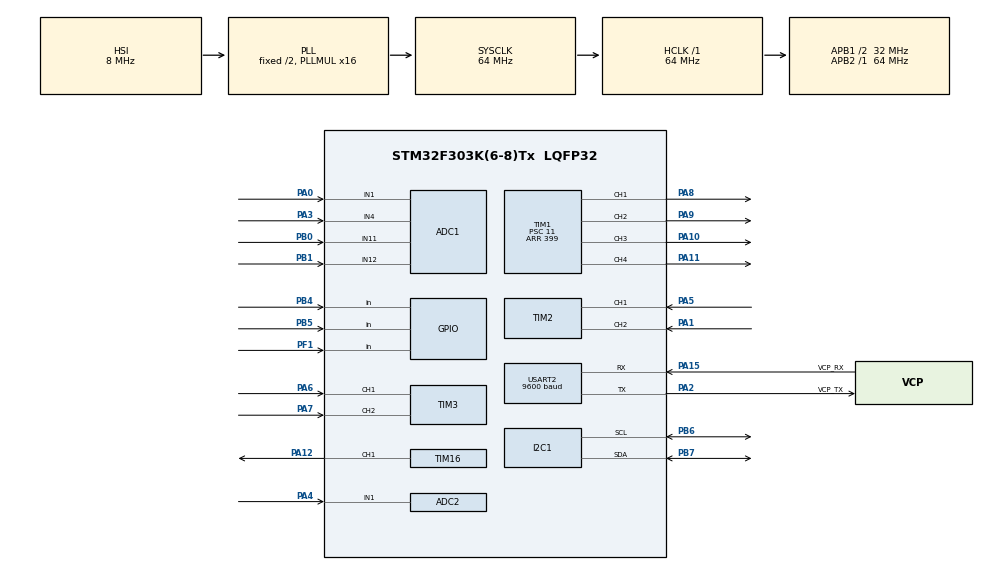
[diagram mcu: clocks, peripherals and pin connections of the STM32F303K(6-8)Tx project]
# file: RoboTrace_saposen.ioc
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ADC1.Channel-0\#ChannelRegularConversion=ADC_CHANNEL_1
ADC1.Channel-4\#ChannelRegularConversion=ADC_CHANNEL_4
ADC1.Channel-5\#ChannelRegularConversion=ADC_CHANNEL_11
ADC1.Channel-6\#ChannelRegularConversion=ADC_CHANNEL_12
ADC1.ClockPrescaler=ADC_CLOCK_ASYNC_DIV1
ADC1.ContinuousConvMode=ENABLE
ADC1.DMAContinuousRequests=ENABLE
ADC1.EOCSelection=ADC_EOC_SINGLE_CONV
ADC1.NbrOfConversion=4
ADC1.NbrOfConversionFlag=1
ADC1.Offset-0\#ChannelRegularConversion=0
ADC1.Offset-4\#ChannelRegularConversion=0
ADC1.Offset-5\#ChannelRegularConversion=0
ADC1.Offset-6\#ChannelRegularConversion=0
ADC1.OffsetNumber-0\#ChannelRegularConversion=ADC_OFFSET_NONE
ADC1.OffsetNumber-4\#ChannelRegularConversion=ADC_OFFSET_NONE
ADC1.OffsetNumber-5\#ChannelRegularConversion=ADC_OFFSET_NONE
ADC1.OffsetNumber-6\#ChannelRegularConversion=ADC_OFFSET_NONE
ADC1.Rank-0\#ChannelRegularConversion=1
ADC1.Rank-4\#ChannelRegularConversion=2
ADC1.Rank-5\#ChannelRegularConversion=3
ADC1.Rank-6\#ChannelRegularConversion=4
ADC1.SamplingTime-0\#ChannelRegularConversion=ADC_SAMPLETIME_61CYCLES_5
ADC1.SamplingTime-4\#ChannelRegularConversion=ADC_SAMPLETIME_61CYCLES_5
ADC1.SamplingTime-5\#ChannelRegularConversion=ADC_SAMPLETIME_61CYCLES_5
ADC1.SamplingTime-6\#ChannelRegularConversion=ADC_SAMPLETIME_61CYCLES_5
ADC1.SequencerNbRanks=4
ADC1.SubFamily=STM32F303x8
ADC1.master=1
ADC2.Channel-0\#ChannelRegularConversion=ADC_CHANNEL_1
ADC2.ContinuousConvMode=ENABLE
ADC2.DMAContinuousRequests=ENABLE
ADC2.NbrOfConversionFlag=1
ADC2.Offset-0\#ChannelRegularConversion=0
ADC2.OffsetNumber-0\#ChannelRegularConversion=ADC_OFFSET_NONE
ADC2.Rank-0\#ChannelRegularConversion=1
ADC2.SamplingTime-0\#ChannelRegularConversion=ADC_SAMPLETIME_61CYCLES_5
ADC2.SamplingTimeOPAMP-0\#ChannelRegularConversion=ADC_SAMPLETIME_61CYCLES_5
ADC2.SubFamily=STM32F303x8
Dma.ADC1.0.Direction=DMA_PERIPH_TO_MEMORY
Dma.ADC1.0.Instance=DMA1_Channel1
Dma.ADC1.0.MemDataAlignment=DMA_MDATAALIGN_HALFWORD
Dma.ADC1.0.MemInc=DMA_MINC_ENABLE
Dma.ADC1.0.Mode=DMA_CIRCULAR
Dma.ADC1.0.PeriphDataAlignment=DMA_PDATAALIGN_HALFWORD
Dma.ADC1.0.PeriphInc=DMA_PINC_DISABLE
Dma.ADC1.0.Priority=DMA_PRIORITY_LOW
Dma.ADC2.1.Direction=DMA_PERIPH_TO_MEMORY
Dma.ADC2.1.Instance=DMA1_Channel2
Dma.ADC2.1.MemDataAlignment=DMA_MDATAALIGN_HALFWORD
Dma.ADC2.1.MemInc=DMA_MINC_ENABLE
Dma.ADC2.1.Mode=DMA_CIRCULAR
Dma.ADC2.1.PeriphDataAlignment=DMA_PDATAALIGN_HALFWORD
Dma.ADC2.1.PeriphInc=DMA_PINC_DISABLE
Dma.ADC2.1.Priority=DMA_PRIORITY_LOW
Dma.Request0=ADC1
Dma.Request1=ADC2
Mcu.Family=STM32F3
Mcu.Name=STM32F303K(6-8)Tx
Mcu.Package=LQFP32
NVIC.DMA1_Channel1_IRQn=true\:0\:0\:false\:false\:true\:false\:true
NVIC.DMA1_Channel2_IRQn=true\:0\:0\:false\:false\:true\:false\:true
NVIC.PriorityGroup=NVIC_PRIORITYGROUP_4
NVIC.TIM6_DAC1_IRQn=true\:0\:0\:false\:false\:true\:true\:true
NVIC.TIM7_DAC2_IRQn=true\:0\:0\:false\:false\:true\:true\:true
NVIC.USART2_IRQn=true\:0\:0\:false\:false\:true\:true\:true
PA0.Mode=IN1-Single-Ended
PA0.Signal=ADC1_IN1
PA1.Signal=S_TIM2_CH2
PA10.Signal=S_TIM1_CH3
PA11.Signal=S_TIM1_CH4
PA12.Signal=S_TIM16_CH1
PA13.GPIO_Label=SWDIO
PA13.Mode=Serial_Wire
PA13.Signal=SYS_JTMS-SWDIO
PA14.GPIO_Label=SWCLK
PA14.Mode=Serial_Wire
PA14.Signal=SYS_JTCK-SWCLK
PA15.GPIO_Label=VCP_RX
PA15.Mode=Asynchronous
PA15.Signal=USART2_RX
PA2.GPIO_Label=VCP_TX
PA2.Mode=Asynchronous
PA2.Signal=USART2_TX
PA3.Mode=IN4-Single-Ended
PA3.Signal=ADC1_IN4
PA4.Mode=IN1-Single-Ended
PA4.Signal=ADC2_IN1
PA5.Signal=S_TIM2_CH1_ETR
PA6.Signal=S_TIM3_CH1
PA7.Signal=S_TIM3_CH2
PA8.Signal=S_TIM1_CH1
PA9.Signal=S_TIM1_CH2
PB0.Mode=IN11-Single-Ended
PB0.Signal=ADC1_IN11
PB1.Mode=IN12-Single-Ended
PB1.Signal=ADC1_IN12
PB4.GPIO_PuPd=GPIO_NOPULL
PB4.Signal=GPIO_Input
PB5.GPIO_PuPd=GPIO_NOPULL
PB5.Signal=GPIO_Input
PB6.Mode=I2C
PB6.Signal=I2C1_SCL
PB7.Mode=I2C
PB7.Signal=I2C1_SDA
PF0\ /\ OSC_IN.GPIO_Label=MCO
PF0\ /\ OSC_IN.Mode=HSE-External-Clock-Source
PF0\ /\ OSC_IN.Signal=RCC_OSC_IN
PF1\ /\ OSC_OUT.Signal=GPIO_Input
ProjectManager.HeapSize=0x200
ProjectManager.StackSize=0x400
ProjectManager.TargetToolchain=STM32CubeIDE
RCC.AHBFreq_Value=64000000
RCC.APB1CLKDivider=RCC_HCLK_DIV2
RCC.APB1Freq_Value=32000000
RCC.APB1TimFreq_Value=64000000
RCC.APB2Freq_Value=64000000
RCC.APB2TimFreq_Value=64000000
RCC.CortexFreq_Value=64000000
RCC.HCLKFreq_Value=64000000
RCC.HSE_VALUE=8000000
RCC.HSI_VALUE=8000000
RCC.PLLMUL=RCC_PLL_MUL16
RCC.SYSCLKFreq_VALUE=64000000
RCC.SYSCLKSourceVirtual=RCC_SYSCLKSOURCE_PLLCLK
SH.S_TIM16_CH1.0=TIM16_CH1,PWM Generation1 CH1
SH.S_TIM1_CH1.0=TIM1_CH1,PWM Generation1 CH1
SH.S_TIM1_CH2.0=TIM1_CH2,PWM Generation2 CH2
SH.S_TIM1_CH3.0=TIM1_CH3,PWM Generation3 CH3
SH.S_TIM1_CH4.0=TIM1_CH4,PWM Generation4 CH4
SH.S_TIM2_CH1_ETR.0=TIM2_CH1,Encoder_Interface
SH.S_TIM2_CH2.0=TIM2_CH2,Encoder_Interface
SH.S_TIM3_CH1.0=TIM3_CH1,Encoder_Interface
SH.S_TIM3_CH2.0=TIM3_CH2,Encoder_Interface
TIM1.Channel-PWM\ Generation1\ CH1=TIM_CHANNEL_1
TIM1.Channel-PWM\ Generation2\ CH2=TIM_CHANNEL_2
TIM1.Channel-PWM\ Generation3\ CH3=TIM_CHANNEL_3
TIM1.Channel-PWM\ Generation4\ CH4=TIM_CHANNEL_4
TIM1.Period=399
TIM1.Prescaler=11
TIM16.Channel=TIM_CHANNEL_1
TIM16.Period=799
TIM16.Prescaler=199
TIM2.EncoderMode=TIM_ENCODERMODE_TI12
TIM3.EncoderMode=TIM_ENCODERMODE_TI12
TIM6.Period=99
TIM6.Prescaler=15
TIM7.Period=1999
TIM7.Prescaler=15
USART2.BaudRate=9600
USART2.VirtualMode-Asynchronous=VM_ASYNC
VP_TIM16_VS_ClockSourceINT.Mode=Enable_Timer
VP_TIM6_VS_ClockSourceINT.Mode=Enable_Timer
VP_TIM7_VS_ClockSourceINT.Mode=Enable_Timer
board=NUCLEO-F303K8

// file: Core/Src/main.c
/* USER CODE BEGIN Header */
/**
  ******************************************************************************
  * @file           : main.c
  * @brief          : Main program body
  ******************************************************************************
  * @attention
  *
  * <h2><center>&copy; Copyright (c) 2023 STMicroelectronics.
  * All rights reserved.</center></h2>
  *
  * This software component is licensed by ST under BSD 3-Clause license,
  * the "License"; You may not use this file except in compliance with the
  * License. You may obtain a copy of the License at:
  *                        opensource.org/licenses/BSD-3-Clause
  *
  ******************************************************************************
  */
/* USER CODE END Header */
#include "main.h"

/* USER CODE BEGIN Includes */
#include<stdio.h>
#include<math.h>
#include<stdlib.h>
/* USER CODE END Includes */

/* USER CODE BEGIN PD */
#define TIM05 0.5
#define TIM005 0.05
#define TIRE 14.0
#define V_MAX 1.2
#define V_MIN 0.8
/* USER CODE END PD */

ADC_HandleTypeDef hadc1;
ADC_HandleTypeDef hadc2;
DMA_HandleTypeDef hdma_adc1;
DMA_HandleTypeDef hdma_adc2;

I2C_HandleTypeDef hi2c1;

TIM_HandleTypeDef htim1;
TIM_HandleTypeDef htim2;
TIM_HandleTypeDef htim3;
TIM_HandleTypeDef htim6;
TIM_HandleTypeDef htim7;
TIM_HandleTypeDef htim16;

UART_HandleTypeDef huart2;

void SystemClock_Config(void);
static void MX_GPIO_Init(void);
static void MX_DMA_Init(void);
static void MX_USART2_UART_Init(void);
static void MX_ADC1_Init(void);
static void MX_I2C1_Init(void);
static void MX_TIM1_Init(void);
static void MX_TIM2_Init(void);
static void MX_TIM3_Init(void);
static void MX_ADC2_Init(void);
static void MX_TIM6_Init(void);
static void MX_TIM7_Init(void);
static void MX_TIM16_Init(void);
/* USER CODE BEGIN PFP */
int _write(int, char*, int);
void user_init();
void loop_init();
int start_stop();
void side_sens();
void adc_getValues();
void Sens_Calibration();
void updateValues();
double degree();
void LineTrace(uint8_t);
void motor_R(double);
void motor_L(double);
double Speed_R();
double Speed_L();
double SpeedContorol_R(double Speed_Ref);
double SpeedContorol_L(double Speed_Ref);
/* USER CODE END PFP */

/* USER CODE BEGIN 0 */
//ADC
uint16_t ADC1_Sensor_Values[4];
uint16_t ADC2_Sensor_Value[1];

float Line_Sens_1;
float Line_Sens_2;
float Line_Sens_3;
float Line_Sens_4;
float Line_Sens_5;

uint16_t line_1_[10];
uint16_t line_2_[10];
uint16_t line_3_[10];
uint16_t line_4_[10];
uint16_t line_5_[10];

float Line_Calib_[5];

float Line_Sort_[5][5];
float ratio_buf;

float Line_1_Max;
float Line_1_Min;
float Line_2_Max;
float Line_2_Min;
float Line_3_Max;
float Line_3_Min;
float Line_4_Max;
float Line_4_Min;
float Line_5_Max;
float Line_5_Min;

//Motor
double SR;
double SL;
double speedR_I_buff;
double speedL_I_buff;
double Speed_Ref = 1.0;
double Speed_input_R;
double Speed_input_L;
double tread = 40;

//else
uint16_t num;
uint8_t linetrace_flag;
int time;
int side_r_time, side_l_time;
int side_r_flag, side_l_flag;
int side_r_count;
uint8_t cross_flag;
uint8_t start_flag;
uint8_t stop_flag;

/* USER CODE END 0 */

int main(void)
{

  /* MCU Configuration--------------------------------------------------------*/

  /* Reset of all peripherals, Initializes the Flash interface and the Systick. */
  HAL_Init();

  /* USER CODE BEGIN Init */
  setbuf(stdout, NULL);
  user_init();
  /* USER CODE END Init */

  /* Configure the system clock */
  SystemClock_Config();

  /* Initialize all configured peripherals */
  MX_GPIO_Init();
  MX_DMA_Init();
  MX_USART2_UART_Init();
  MX_ADC1_Init();
  MX_I2C1_Init();
  MX_TIM1_Init();
  MX_TIM2_Init();
  MX_TIM3_Init();
  MX_ADC2_Init();
  MX_TIM6_Init();
  MX_TIM7_Init();
  MX_TIM16_Init();
  /* USER CODE BEGIN 2 */

  //Motor
  HAL_TIM_PWM_Start(&htim1, TIM_CHANNEL_1);
  HAL_TIM_PWM_Start(&htim1, TIM_CHANNEL_2);
  HAL_TIM_PWM_Start(&htim1, TIM_CHANNEL_3);
  HAL_TIM_PWM_Start(&htim1, TIM_CHANNEL_4);

  //buzzer
  HAL_TIM_PWM_Start(&htim16, TIM_CHANNEL_1);

  //Encoder
  HAL_TIM_Encoder_Start(&htim2, TIM_CHANNEL_ALL);
  HAL_TIM_Encoder_Start(&htim3, TIM_CHANNEL_ALL);

  //timer
  HAL_TIM_Base_Start_IT(&htim6);
  HAL_TIM_Base_Start_IT(&htim7);

  //ADC
  HAL_ADCEx_Calibration_Start(&hadc1, ADC_SINGLE_ENDED);
  HAL_ADC_Start_DMA(&hadc1, (uint32_t *) ADC1_Sensor_Values, 4);
  hdma_adc1.Instance->CCR &= ~(DMA_IT_TC | DMA_IT_HT);
  HAL_ADC_Start_DMA(&hadc2, (uint32_t *) ADC2_Sensor_Value, 1);
  hdma_adc2.Instance->CCR &= ~(DMA_IT_TC | DMA_IT_HT);
  /* USER CODE END 2 */

  /* Infinite loop */
  /* USER CODE BEGIN WHILE */
  HAL_Delay(1000);
  while (1)
  {
    /* USER CODE END WHILE */

    /* USER CODE BEGIN 3 */
	  /*
	  Sens_Calibration();

	  if( HAL_GPIO_ReadPin(GPIOB,GPIO_PIN_5) == 1 ){
		  __HAL_TIM_SET_COMPARE(&htim16, TIM_CHANNEL_1, 500); //R
		  printf("Hight\r\n");
	  }
	  else if( HAL_GPIO_ReadPin(GPIOB,GPIO_PIN_5) == 0 ) __HAL_TIM_SET_COMPARE(&htim16, TIM_CHANNEL_1, 0);

	  if( HAL_GPIO_ReadPin(GPIOF,GPIO_PIN_1) == 0 ) start_flag = 1;
	  */

	  if( HAL_GPIO_ReadPin(GPIOF,GPIO_PIN_1) == 0 ){
		  __HAL_TIM_SET_COMPARE(&htim16, TIM_CHANNEL_1, 500);
		  HAL_Delay(1500);
		  __HAL_TIM_SET_COMPARE(&htim16, TIM_CHANNEL_1, 0);
		  Sens_Calibration();
		  start_flag = 1;
	  }

	  if(start_flag > 0){
		  loop_init();
		  HAL_Delay(4000);
		  __HAL_TIM_SET_COMPARE(&htim16, TIM_CHANNEL_1, 500);
		  HAL_Delay(1000);
		  __HAL_TIM_SET_COMPARE(&htim16, TIM_CHANNEL_1, 0);
		  linetrace_flag = 1;
		  cross_flag = 0;
	  }

	  while(linetrace_flag){
		  stop_flag = start_stop();
		  //printf("%d\r\n", stop_flag);
		  if(start_flag > 5){
			  start_flag = linetrace_flag = 0;
			  break;
		  }
		  if(stop_flag >= 2){
			  linetrace_flag = 2;
			  start_flag++;
			  break;
		  }
		  HAL_Delay(1.5);
	  }

	  HAL_Delay(50);
  }
  /* USER CODE END 3 */
}

void SystemClock_Config(void)
{
  RCC_OscInitTypeDef RCC_OscInitStruct = {0};
  RCC_ClkInitTypeDef RCC_ClkInitStruct = {0};
  RCC_PeriphCLKInitTypeDef PeriphClkInit = {0};

  /** Initializes the RCC Oscillators according to the specified parameters
  * in the RCC_OscInitTypeDef structure.
  */
  RCC_OscInitStruct.OscillatorType = RCC_OSCILLATORTYPE_HSI;
  RCC_OscInitStruct.HSIState = RCC_HSI_ON;
  RCC_OscInitStruct.HSICalibrationValue = RCC_HSICALIBRATION_DEFAULT;
  RCC_OscInitStruct.PLL.PLLState = RCC_PLL_ON;
  RCC_OscInitStruct.PLL.PLLSource = RCC_PLLSOURCE_HSI;
  RCC_OscInitStruct.PLL.PLLMUL = RCC_PLL_MUL16;
  if (HAL_RCC_OscConfig(&RCC_OscInitStruct) != HAL_OK)
  {
    Error_Handler();
  }
  /** Initializes the CPU, AHB and APB buses clocks
  */
  RCC_ClkInitStruct.ClockType = RCC_CLOCKTYPE_HCLK|RCC_CLOCKTYPE_SYSCLK
                              |RCC_CLOCKTYPE_PCLK1|RCC_CLOCKTYPE_PCLK2;
  RCC_ClkInitStruct.SYSCLKSource = RCC_SYSCLKSOURCE_PLLCLK;
  RCC_ClkInitStruct.AHBCLKDivider = RCC_SYSCLK_DIV1;
  RCC_ClkInitStruct.APB1CLKDivider = RCC_HCLK_DIV2;
  RCC_ClkInitStruct.APB2CLKDivider = RCC_HCLK_DIV1;

  if (HAL_RCC_ClockConfig(&RCC_ClkInitStruct, FLASH_LATENCY_2) != HAL_OK)
  {
    Error_Handler();
  }
  PeriphClkInit.PeriphClockSelection = RCC_PERIPHCLK_I2C1|RCC_PERIPHCLK_TIM1
                              |RCC_PERIPHCLK_ADC12;
  PeriphClkInit.Adc12ClockSelection = RCC_ADC12PLLCLK_DIV1;
  PeriphClkInit.I2c1ClockSelection = RCC_I2C1CLKSOURCE_HSI;
  PeriphClkInit.Tim1ClockSelection = RCC_TIM1CLK_HCLK;
  if (HAL_RCCEx_PeriphCLKConfig(&PeriphClkInit) != HAL_OK)
  {
    Error_Handler();
  }
}

static void MX_ADC1_Init(void)
{

  ADC_MultiModeTypeDef multimode = {0};
  ADC_ChannelConfTypeDef sConfig = {0};

  /** Common config
  */
  hadc1.Instance = ADC1;
  hadc1.Init.ClockPrescaler = ADC_CLOCK_ASYNC_DIV1;
  hadc1.Init.Resolution = ADC_RESOLUTION_12B;
  hadc1.Init.ScanConvMode = ADC_SCAN_ENABLE;
  hadc1.Init.ContinuousConvMode = ENABLE;
  hadc1.Init.DiscontinuousConvMode = DISABLE;
  hadc1.Init.ExternalTrigConvEdge = ADC_EXTERNALTRIGCONVEDGE_NONE;
  hadc1.Init.ExternalTrigConv = ADC_SOFTWARE_START;
  hadc1.Init.DataAlign = ADC_DATAALIGN_RIGHT;
  hadc1.Init.NbrOfConversion = 4;
  hadc1.Init.DMAContinuousRequests = ENABLE;
  hadc1.Init.EOCSelection = ADC_EOC_SINGLE_CONV;
  hadc1.Init.LowPowerAutoWait = DISABLE;
  hadc1.Init.Overrun = ADC_OVR_DATA_OVERWRITTEN;
  if (HAL_ADC_Init(&hadc1) != HAL_OK)
  {
    Error_Handler();
  }
  /** Configure the ADC multi-mode
  */
  multimode.Mode = ADC_MODE_INDEPENDENT;
  if (HAL_ADCEx_MultiModeConfigChannel(&hadc1, &multimode) != HAL_OK)
  {
    Error_Handler();
  }
  /** Configure Regular Channel
  */
  sConfig.Channel = ADC_CHANNEL_1;
  sConfig.Rank = ADC_REGULAR_RANK_1;
  sConfig.SingleDiff = ADC_SINGLE_ENDED;
  sConfig.SamplingTime = ADC_SAMPLETIME_61CYCLES_5;
  sConfig.OffsetNumber = ADC_OFFSET_NONE;
  sConfig.Offset = 0;
  if (HAL_ADC_ConfigChannel(&hadc1, &sConfig) != HAL_OK)
  {
    Error_Handler();
  }
  /** Configure Regular Channel
  */
  sConfig.Channel = ADC_CHANNEL_4;
  sConfig.Rank = ADC_REGULAR_RANK_2;
  if (HAL_ADC_ConfigChannel(&hadc1, &sConfig) != HAL_OK)
  {
    Error_Handler();
  }
  /** Configure Regular Channel
  */
  sConfig.Channel = ADC_CHANNEL_11;
  sConfig.Rank = ADC_REGULAR_RANK_3;
  if (HAL_ADC_ConfigChannel(&hadc1, &sConfig) != HAL_OK)
  {
    Error_Handler();
  }
  /** Configure Regular Channel
  */
  sConfig.Channel = ADC_CHANNEL_12;
  sConfig.Rank = ADC_REGULAR_RANK_4;
  if (HAL_ADC_ConfigChannel(&hadc1, &sConfig) != HAL_OK)
  {
    Error_Handler();
  }

}

static void MX_ADC2_Init(void)
{

  ADC_ChannelConfTypeDef sConfig = {0};

  /** Common config
  */
  hadc2.Instance = ADC2;
  hadc2.Init.ClockPrescaler = ADC_CLOCK_ASYNC_DIV1;
  hadc2.Init.Resolution = ADC_RESOLUTION_12B;
  hadc2.Init.ScanConvMode = ADC_SCAN_DISABLE;
  hadc2.Init.ContinuousConvMode = ENABLE;
  hadc2.Init.DiscontinuousConvMode = DISABLE;
  hadc2.Init.ExternalTrigConvEdge = ADC_EXTERNALTRIGCONVEDGE_NONE;
  hadc2.Init.ExternalTrigConv = ADC_SOFTWARE_START;
  hadc2.Init.DataAlign = ADC_DATAALIGN_RIGHT;
  hadc2.Init.NbrOfConversion = 1;
  hadc2.Init.DMAContinuousRequests = ENABLE;
  hadc2.Init.EOCSelection = ADC_EOC_SINGLE_CONV;
  hadc2.Init.LowPowerAutoWait = DISABLE;
  hadc2.Init.Overrun = ADC_OVR_DATA_OVERWRITTEN;
  if (HAL_ADC_Init(&hadc2) != HAL_OK)
  {
    Error_Handler();
  }
  /** Configure Regular Channel
  */
  sConfig.Channel = ADC_CHANNEL_1;
  sConfig.Rank = ADC_REGULAR_RANK_1;
  sConfig.SingleDiff = ADC_SINGLE_ENDED;
  sConfig.SamplingTime = ADC_SAMPLETIME_61CYCLES_5;
  sConfig.OffsetNumber = ADC_OFFSET_NONE;
  sConfig.Offset = 0;
  if (HAL_ADC_ConfigChannel(&hadc2, &sConfig) != HAL_OK)
  {
    Error_Handler();
  }

}

static void MX_I2C1_Init(void)
{

  hi2c1.Instance = I2C1;
  hi2c1.Init.Timing = 0x2000090E;
  hi2c1.Init.OwnAddress1 = 0;
  hi2c1.Init.AddressingMode = I2C_ADDRESSINGMODE_7BIT;
  hi2c1.Init.DualAddressMode = I2C_DUALADDRESS_DISABLE;
  hi2c1.Init.OwnAddress2 = 0;
  hi2c1.Init.OwnAddress2Masks = I2C_OA2_NOMASK;
  hi2c1.Init.GeneralCallMode = I2C_GENERALCALL_DISABLE;
  hi2c1.Init.NoStretchMode = I2C_NOSTRETCH_DISABLE;
  if (HAL_I2C_Init(&hi2c1) != HAL_OK)
  {
    Error_Handler();
  }
  /** Configure Analogue filter
  */
  if (HAL_I2CEx_ConfigAnalogFilter(&hi2c1, I2C_ANALOGFILTER_ENABLE) != HAL_OK)
  {
    Error_Handler();
  }
  /** Configure Digital filter
  */
  if (HAL_I2CEx_ConfigDigitalFilter(&hi2c1, 0) != HAL_OK)
  {
    Error_Handler();
  }

}

static void MX_TIM1_Init(void)
{

  TIM_MasterConfigTypeDef sMasterConfig = {0};
  TIM_OC_InitTypeDef sConfigOC = {0};
  TIM_BreakDeadTimeConfigTypeDef sBreakDeadTimeConfig = {0};

  htim1.Instance = TIM1;
  htim1.Init.Prescaler = 11;
  htim1.Init.CounterMode = TIM_COUNTERMODE_UP;
  htim1.Init.Period = 399;
  htim1.Init.ClockDivision = TIM_CLOCKDIVISION_DIV1;
  htim1.Init.RepetitionCounter = 0;
  htim1.Init.AutoReloadPreload = TIM_AUTORELOAD_PRELOAD_DISABLE;
  if (HAL_TIM_PWM_Init(&htim1) != HAL_OK)
  {
    Error_Handler();
  }
  sMasterConfig.MasterOutputTrigger = TIM_TRGO_RESET;
  sMasterConfig.MasterOutputTrigger2 = TIM_TRGO2_RESET;
  sMasterConfig.MasterSlaveMode = TIM_MASTERSLAVEMODE_DISABLE;
  if (HAL_TIMEx_MasterConfigSynchronization(&htim1, &sMasterConfig) != HAL_OK)
  {
    Error_Handler();
  }
  sConfigOC.OCMode = TIM_OCMODE_PWM1;
  sConfigOC.Pulse = 0;
  sConfigOC.OCPolarity = TIM_OCPOLARITY_HIGH;
  sConfigOC.OCNPolarity = TIM_OCNPOLARITY_HIGH;
  sConfigOC.OCFastMode = TIM_OCFAST_DISABLE;
  sConfigOC.OCIdleState = TIM_OCIDLESTATE_RESET;
  sConfigOC.OCNIdleState = TIM_OCNIDLESTATE_RESET;
  if (HAL_TIM_PWM_ConfigChannel(&htim1, &sConfigOC, TIM_CHANNEL_1) != HAL_OK)
  {
    Error_Handler();
  }
  if (HAL_TIM_PWM_ConfigChannel(&htim1, &sConfigOC, TIM_CHANNEL_2) != HAL_OK)
  {
    Error_Handler();
  }
  if (HAL_TIM_PWM_ConfigChannel(&htim1, &sConfigOC, TIM_CHANNEL_3) != HAL_OK)
  {
    Error_Handler();
  }
  if (HAL_TIM_PWM_ConfigChannel(&htim1, &sConfigOC, TIM_CHANNEL_4) != HAL_OK)
  {
    Error_Handler();
  }
  sBreakDeadTimeConfig.OffStateRunMode = TIM_OSSR_DISABLE;
  sBreakDeadTimeConfig.OffStateIDLEMode = TIM_OSSI_DISABLE;
  sBreakDeadTimeConfig.LockLevel = TIM_LOCKLEVEL_OFF;
  sBreakDeadTimeConfig.DeadTime = 0;
  sBreakDeadTimeConfig.BreakState = TIM_BREAK_DISABLE;
  sBreakDeadTimeConfig.BreakPolarity = TIM_BREAKPOLARITY_HIGH;
  sBreakDeadTimeConfig.BreakFilter = 0;
  sBreakDeadTimeConfig.Break2State = TIM_BREAK2_DISABLE;
  sBreakDeadTimeConfig.Break2Polarity = TIM_BREAK2POLARITY_HIGH;
  sBreakDeadTimeConfig.Break2Filter = 0;
  sBreakDeadTimeConfig.AutomaticOutput = TIM_AUTOMATICOUTPUT_DISABLE;
  if (HAL_TIMEx_ConfigBreakDeadTime(&htim1, &sBreakDeadTimeConfig) != HAL_OK)
  {
    Error_Handler();
  }
  HAL_TIM_MspPostInit(&htim1);

}

static void MX_TIM2_Init(void)
{

  TIM_Encoder_InitTypeDef sConfig = {0};
  TIM_MasterConfigTypeDef sMasterConfig = {0};

  htim2.Instance = TIM2;
  htim2.Init.Prescaler = 0;
  htim2.Init.CounterMode = TIM_COUNTERMODE_UP;
  htim2.Init.Period = 4294967295;
  htim2.Init.ClockDivision = TIM_CLOCKDIVISION_DIV1;
  htim2.Init.AutoReloadPreload = TIM_AUTORELOAD_PRELOAD_DISABLE;
  sConfig.EncoderMode = TIM_ENCODERMODE_TI12;
  sConfig.IC1Polarity = TIM_ICPOLARITY_RISING;
  sConfig.IC1Selection = TIM_ICSELECTION_DIRECTTI;
  sConfig.IC1Prescaler = TIM_ICPSC_DIV1;
  sConfig.IC1Filter = 0;
  sConfig.IC2Polarity = TIM_ICPOLARITY_RISING;
  sConfig.IC2Selection = TIM_ICSELECTION_DIRECTTI;
  sConfig.IC2Prescaler = TIM_ICPSC_DIV1;
  sConfig.IC2Filter = 0;
  if (HAL_TIM_Encoder_Init(&htim2, &sConfig) != HAL_OK)
  {
    Error_Handler();
  }
  sMasterConfig.MasterOutputTrigger = TIM_TRGO_RESET;
  sMasterConfig.MasterSlaveMode = TIM_MASTERSLAVEMODE_DISABLE;
  if (HAL_TIMEx_MasterConfigSynchronization(&htim2, &sMasterConfig) != HAL_OK)
  {
    Error_Handler();
  }

}

static void MX_TIM3_Init(void)
{

  TIM_Encoder_InitTypeDef sConfig = {0};
  TIM_MasterConfigTypeDef sMasterConfig = {0};

  htim3.Instance = TIM3;
  htim3.Init.Prescaler = 0;
  htim3.Init.CounterMode = TIM_COUNTERMODE_UP;
  htim3.Init.Period = 65535;
  htim3.Init.ClockDivision = TIM_CLOCKDIVISION_DIV1;
  htim3.Init.AutoReloadPreload = TIM_AUTORELOAD_PRELOAD_DISABLE;
  sConfig.EncoderMode = TIM_ENCODERMODE_TI12;
  sConfig.IC1Polarity = TIM_ICPOLARITY_RISING;
  sConfig.IC1Selection = TIM_ICSELECTION_DIRECTTI;
  sConfig.IC1Prescaler = TIM_ICPSC_DIV1;
  sConfig.IC1Filter = 0;
  sConfig.IC2Polarity = TIM_ICPOLARITY_RISING;
  sConfig.IC2Selection = TIM_ICSELECTION_DIRECTTI;
  sConfig.IC2Prescaler = TIM_ICPSC_DIV1;
  sConfig.IC2Filter = 0;
  if (HAL_TIM_Encoder_Init(&htim3, &sConfig) != HAL_OK)
  {
    Error_Handler();
  }
  sMasterConfig.MasterOutputTrigger = TIM_TRGO_RESET;
  sMasterConfig.MasterSlaveMode = TIM_MASTERSLAVEMODE_DISABLE;
  if (HAL_TIMEx_MasterConfigSynchronization(&htim3, &sMasterConfig) != HAL_OK)
  {
    Error_Handler();
  }

}

static void MX_TIM6_Init(void)
{

  TIM_MasterConfigTypeDef sMasterConfig = {0};

  htim6.Instance = TIM6;
  htim6.Init.Prescaler = 15;
  htim6.Init.CounterMode = TIM_COUNTERMODE_UP;
  htim6.Init.Period = 99;
  htim6.Init.AutoReloadPreload = TIM_AUTORELOAD_PRELOAD_DISABLE;
  if (HAL_TIM_Base_Init(&htim6) != HAL_OK)
  {
    Error_Handler();
  }
  sMasterConfig.MasterOutputTrigger = TIM_TRGO_RESET;
  sMasterConfig.MasterSlaveMode = TIM_MASTERSLAVEMODE_DISABLE;
  if (HAL_TIMEx_MasterConfigSynchronization(&htim6, &sMasterConfig) != HAL_OK)
  {
    Error_Handler();
  }

}

static void MX_TIM7_Init(void)
{

  TIM_MasterConfigTypeDef sMasterConfig = {0};

  htim7.Instance = TIM7;
  htim7.Init.Prescaler = 15;
  htim7.Init.CounterMode = TIM_COUNTERMODE_UP;
  htim7.Init.Period = 1999;
  htim7.Init.AutoReloadPreload = TIM_AUTORELOAD_PRELOAD_DISABLE;
  if (HAL_TIM_Base_Init(&htim7) != HAL_OK)
  {
    Error_Handler();
  }
  sMasterConfig.MasterOutputTrigger = TIM_TRGO_RESET;
  sMasterConfig.MasterSlaveMode = TIM_MASTERSLAVEMODE_DISABLE;
  if (HAL_TIMEx_MasterConfigSynchronization(&htim7, &sMasterConfig) != HAL_OK)
  {
    Error_Handler();
  }

}

static void MX_TIM16_Init(void)
{

  TIM_OC_InitTypeDef sConfigOC = {0};
  TIM_BreakDeadTimeConfigTypeDef sBreakDeadTimeConfig = {0};

  htim16.Instance = TIM16;
  htim16.Init.Prescaler = 199;
  htim16.Init.CounterMode = TIM_COUNTERMODE_UP;
  htim16.Init.Period = 799;
  htim16.Init.ClockDivision = TIM_CLOCKDIVISION_DIV1;
  htim16.Init.RepetitionCounter = 0;
  htim16.Init.AutoReloadPreload = TIM_AUTORELOAD_PRELOAD_DISABLE;
  if (HAL_TIM_Base_Init(&htim16) != HAL_OK)
  {
    Error_Handler();
  }
  if (HAL_TIM_PWM_Init(&htim16) != HAL_OK)
  {
    Error_Handler();
  }
  sConfigOC.OCMode = TIM_OCMODE_PWM1;
  sConfigOC.Pulse = 0;
  sConfigOC.OCPolarity = TIM_OCPOLARITY_HIGH;
  sConfigOC.OCNPolarity = TIM_OCNPOLARITY_HIGH;
  sConfigOC.OCFastMode = TIM_OCFAST_DISABLE;
  sConfigOC.OCIdleState = TIM_OCIDLESTATE_RESET;
  sConfigOC.OCNIdleState = TIM_OCNIDLESTATE_RESET;
  if (HAL_TIM_PWM_ConfigChannel(&htim16, &sConfigOC, TIM_CHANNEL_1) != HAL_OK)
  {
    Error_Handler();
  }
  sBreakDeadTimeConfig.OffStateRunMode = TIM_OSSR_DISABLE;
  sBreakDeadTimeConfig.OffStateIDLEMode = TIM_OSSI_DISABLE;
  sBreakDeadTimeConfig.LockLevel = TIM_LOCKLEVEL_OFF;
  sBreakDeadTimeConfig.DeadTime = 0;
  sBreakDeadTimeConfig.BreakState = TIM_BREAK_DISABLE;
  sBreakDeadTimeConfig.BreakPolarity = TIM_BREAKPOLARITY_HIGH;
  sBreakDeadTimeConfig.BreakFilter = 0;
  sBreakDeadTimeConfig.AutomaticOutput = TIM_AUTOMATICOUTPUT_DISABLE;
  if (HAL_TIMEx_ConfigBreakDeadTime(&htim16, &sBreakDeadTimeConfig) != HAL_OK)
  {
    Error_Handler();
  }
  HAL_TIM_MspPostInit(&htim16);

}

static void MX_USART2_UART_Init(void)
{

  huart2.Instance = USART2;
  huart2.Init.BaudRate = 9600;
  huart2.Init.WordLength = UART_WORDLENGTH_8B;
  huart2.Init.StopBits = UART_STOPBITS_1;
  huart2.Init.Parity = UART_PARITY_NONE;
  huart2.Init.Mode = UART_MODE_TX_RX;
  huart2.Init.HwFlowCtl = UART_HWCONTROL_NONE;
  huart2.Init.OverSampling = UART_OVERSAMPLING_16;
  huart2.Init.OneBitSampling = UART_ONE_BIT_SAMPLE_DISABLE;
  huart2.AdvancedInit.AdvFeatureInit = UART_ADVFEATURE_NO_INIT;
  if (HAL_UART_Init(&huart2) != HAL_OK)
  {
    Error_Handler();
  }

}

static void MX_DMA_Init(void)
{

  /* DMA controller clock enable */
  __HAL_RCC_DMA1_CLK_ENABLE();

  /* DMA interrupt init */
  /* DMA1_Channel1_IRQn interrupt configuration */
  HAL_NVIC_SetPriority(DMA1_Channel1_IRQn, 0, 0);
  HAL_NVIC_EnableIRQ(DMA1_Channel1_IRQn);
  /* DMA1_Channel2_IRQn interrupt configuration */
  HAL_NVIC_SetPriority(DMA1_Channel2_IRQn, 0, 0);
  HAL_NVIC_EnableIRQ(DMA1_Channel2_IRQn);

}

static void MX_GPIO_Init(void)
{
  GPIO_InitTypeDef GPIO_InitStruct = {0};

  /* GPIO Ports Clock Enable */
  __HAL_RCC_GPIOF_CLK_ENABLE();
  __HAL_RCC_GPIOA_CLK_ENABLE();
  __HAL_RCC_GPIOB_CLK_ENABLE();

  /*Configure GPIO pin : PF1 */
  GPIO_InitStruct.Pin = GPIO_PIN_1;
  GPIO_InitStruct.Mode = GPIO_MODE_INPUT;
  GPIO_InitStruct.Pull = GPIO_NOPULL;
  HAL_GPIO_Init(GPIOF, &GPIO_InitStruct);

  /*Configure GPIO pins : PB4 PB5 */
  GPIO_InitStruct.Pin = GPIO_PIN_4|GPIO_PIN_5;
  GPIO_InitStruct.Mode = GPIO_MODE_INPUT;
  GPIO_InitStruct.Pull = GPIO_NOPULL;
  HAL_GPIO_Init(GPIOB, &GPIO_InitStruct);

}

/* USER CODE BEGIN 4 */

//printf
int _write(int file, char *ptr, int len) {
	HAL_UART_Transmit(&huart2, (uint8_t*) ptr, len, 0xFFFF);
	return len;
}

//Init
void user_init()
{
	linetrace_flag = 0;
	num = 0;
	Line_1_Max = Line_2_Max = Line_3_Max = Line_4_Max = Line_5_Max = 0;
	Line_1_Min = Line_2_Min = Line_3_Min = Line_4_Min = Line_5_Min = 1000;
	side_r_time = side_l_time = 0;
	side_r_flag = side_l_flag = 0;
	side_r_count = 0;
	cross_flag = 0;
	start_flag = stop_flag = 0;
}

void loop_init()
{
	side_r_time = side_l_time = 0;
	side_r_flag = side_l_flag = 0;
	side_r_count = 0;
	cross_flag = 0;
	stop_flag = 0;
}

int start_stop()
{
	if(HAL_GPIO_ReadPin(GPIOB, GPIO_PIN_5) == 1){
		__HAL_TIM_SET_COMPARE(&htim16, TIM_CHANNEL_1, 500);
		side_r_flag = 1;
	}
	else if(HAL_GPIO_ReadPin(GPIOB, GPIO_PIN_4) != 1) side_r_flag = 0;

	if(HAL_GPIO_ReadPin(GPIOB, GPIO_PIN_4) == 1){
		side_l_flag = 1;
		cross_flag = 0;
	}
	else if(HAL_GPIO_ReadPin(GPIOB, GPIO_PIN_5) != 1) side_l_flag = 0;

	if(!side_r_flag && !side_l_flag && !cross_flag){
		if( side_r_time - side_l_time > 0 ) side_r_count += 1;
		else if( side_l_time - side_r_time >= 20);
		side_r_time = side_l_time = 0;
		__HAL_TIM_SET_COMPARE(&htim16, TIM_CHANNEL_1, 0);
	}
	else if(cross_flag){
		side_r_flag = side_l_flag = 0;
		side_r_time = side_l_time = 0;
	}

	if(side_r_count >= 2) return 2;
	else if(side_r_count >= 1) return 1;
	else return 0;
}

//ADC_Vaulues_Get
void adc_getValues()
{
	if (num >= 9) num = 0;
	line_1_[num] = ADC2_Sensor_Value[0];
	line_2_[num] = ADC1_Sensor_Values[2];
	line_3_[num] = ADC1_Sensor_Values[3];
	line_4_[num] = ADC1_Sensor_Values[1];
	line_5_[num] = ADC1_Sensor_Values[0];
	num++;
}

//Sensor_Calibration
void Sens_Calibration()
{
	/*
	if(Line_Sens_1 <= Line_1_Min) Line_1_Min = Line_Sens_1;
	if(Line_Sens_1 >= Line_1_Max) Line_1_Max = Line_Sens_1;
	if(Line_Sens_2 <= Line_2_Min) Line_2_Min = Line_Sens_2;
	if(Line_Sens_2 >= Line_2_Max) Line_2_Max = Line_Sens_2;
	if(Line_Sens_3 <= Line_3_Min) Line_3_Min = Line_Sens_3;
	if(Line_Sens_3 >= Line_3_Max) Line_3_Max = Line_Sens_3;
	if(Line_Sens_4 <= Line_4_Min) Line_4_Min = Line_Sens_4;
	if(Line_Sens_4 >= Line_4_Max) Line_4_Max = Line_Sens_4;
	if(Line_Sens_5 <= Line_5_Min) Line_5_Min = Line_Sens_5;
	if(Line_Sens_5 >= Line_5_Max) Line_5_Max = Line_Sens_5;
	*/
	double Cal_SR, Cal_SL;
	int count = 0;

	while(count < 270)
	{
		Cal_SR = SpeedContorol_R(0.25);
		Cal_SL = SpeedContorol_L(0.25);
		motor_R(Cal_SR);
		motor_L(Cal_SL);

		if(Line_Sens_1 <= Line_1_Min) Line_1_Min = Line_Sens_1;
		if(Line_Sens_1 >= Line_1_Max) Line_1_Max = Line_Sens_1;
		if(Line_Sens_2 <= Line_2_Min) Line_2_Min = Line_Sens_2;
		if(Line_Sens_2 >= Line_2_Max) Line_2_Max = Line_Sens_2;
		if(Line_Sens_3 <= Line_3_Min) Line_3_Min = Line_Sens_3;
		if(Line_Sens_3 >= Line_3_Max) Line_3_Max = Line_Sens_3;
		if(Line_Sens_4 <= Line_4_Min) Line_4_Min = Line_Sens_4;
		if(Line_Sens_4 >= Line_4_Max) Line_4_Max = Line_Sens_4;
		if(Line_Sens_5 <= Line_5_Min) Line_5_Min = Line_Sens_5;
		if(Line_Sens_5 >= Line_5_Max) Line_5_Max = Line_Sens_5;

		count++;
		HAL_Delay(1);
	}
	while(1)
	{
		Cal_SR = SpeedContorol_R(0.25);
		Cal_SL = SpeedContorol_L(-0.25);
		motor_R(Cal_SR);
		motor_L(Cal_SL);

		if(Line_Sens_3 > 800){
			motor_R(0);
			motor_L(0);
			break;
		}
		HAL_Delay(1);
	}

}

//ADC_Values_Sort
void updateValues()
{
	uint16_t tmp;
	for(int i = 0; i < 10; i++){
		for(int j = i+1; j < 10; j++){
			if(line_1_[i] > line_1_[j]){
				tmp = line_1_[i];
				line_1_[i] = line_1_[j];
				line_1_[j] = tmp;
			}
			if(line_2_[i] > line_2_[j]){
				tmp = line_2_[i];
				line_2_[i] = line_2_[j];
				line_2_[j] = tmp;
			}
			if(line_3_[i] > line_3_[j]){
				tmp = line_3_[i];
				line_3_[i] = line_3_[j];
				line_3_[j] = tmp;
			}
			if(line_4_[i] > line_4_[j]){
				tmp = line_4_[i];
				line_4_[i] = line_4_[j];
				line_4_[j] = tmp;
			}
			if(line_5_[i] > line_5_[j]){
				tmp = line_5_[i];
				line_5_[i] = line_5_[j];
				line_5_[j] = tmp;
			}
		}
	}
	Line_Sens_1 = (line_1_[4] + line_1_[5]) / 2;
	Line_Sens_2 = (line_2_[4] + line_2_[5]) / 2;
	Line_Sens_3 = (line_3_[4] + line_3_[5]) / 2;
	Line_Sens_4 = (line_4_[4] + line_4_[5]) / 2;
	Line_Sens_5 = (line_5_[4] + line_5_[5]) / 2;

	Line_Sort_[0][1] = ((Line_Sens_1 - (double)Line_1_Min) / (double)(Line_1_Max - Line_1_Min)) * 1000;
	Line_Sort_[1][1] = ((Line_Sens_2 - (double)Line_2_Min) / (double)(Line_2_Max - Line_2_Min)) * 1000;
	Line_Sort_[2][1] = ((Line_Sens_3 - (double)Line_3_Min) / (double)(Line_3_Max - Line_3_Min)) * 1000;
	Line_Sort_[3][1] = ((Line_Sens_4 - (double)Line_4_Min) / (double)(Line_4_Max - Line_4_Min)) * 1000;
	Line_Sort_[4][1] = ((Line_Sens_5 - (double)Line_5_Min) / (double)(Line_5_Max - Line_5_Min)) * 1000;

	for(int i = 0; i < 5; i++){
		Line_Sort_[i][0] = i;
		Line_Calib_[i] = Line_Sort_[i][1];
	}
	int tmp_1;
	float tmp_2;
	for (int i = 0; i < 5; i++) {
		for (int j = i+1; j < 5; j++) {
			if (Line_Sort_[i][1] > Line_Sort_[j][1]) {
				tmp_1 = Line_Sort_[i][0];
				tmp_2 = Line_Sort_[i][1];
				Line_Sort_[i][0] = Line_Sort_[j][0];
				Line_Sort_[i][1] = Line_Sort_[j][1];
				Line_Sort_[j][0] = tmp_1;
				Line_Sort_[j][1] = tmp_2;
			}
		}
	}

}

//degree
double degree()
{
	double ratio;
	int sort_1, sort_2;

	sort_1 = Line_Sort_[4][0];

	switch(sort_1){
	case 0:
		sort_2 = 1;
		break;
	case 1:
		if(Line_Calib_[0] >= Line_Calib_[2]) sort_2 = 0;
		else if(Line_Calib_[0] < Line_Calib_[2]) sort_2 = 2;
		break;
	case 2:
		if(Line_Calib_[1] >= Line_Calib_[3]) sort_2 = 1;
		else if(Line_Calib_[1] < Line_Calib_[3]) sort_2 = 3;
		break;
	case 3:
		if(Line_Calib_[2] >= Line_Calib_[4]) sort_2 = 2;
		else if(Line_Calib_[2] < Line_Calib_[4]) sort_2 = 4;
		break;
	case 4:
		sort_2 = 3;
		break;
	}

	if(Line_Calib_[1] > 100 && Line_Calib_[2] > 100 && Line_Calib_[3] > 100){
		cross_flag = 1;
		return 0;
	}

	//0-1
	if(sort_1 == 1 && sort_2 == 0){
		ratio = 30 * (Line_Calib_[sort_2] / (Line_Calib_[sort_1] + Line_Calib_[sort_2]));
		return 30+ratio;
	}
	if(sort_1 == 0 && sort_2 == 1){
		ratio = 30 * (Line_Calib_[sort_1] / (Line_Calib_[sort_2] + Line_Calib_[sort_1]));
		return 30+ratio;
	}
	//1-2
	if(sort_1 == 2 && sort_2 == 1){
		ratio = 30 * (Line_Calib_[sort_2] / (Line_Calib_[sort_1] + Line_Calib_[sort_2]));
		return ratio;
	}
	if(sort_1 == 1 && sort_2 == 2){
		ratio = 30 * (Line_Calib_[sort_1] / (Line_Calib_[sort_2] + Line_Calib_[sort_1]));
		return ratio;
	}
	//2-3
	if(sort_1 == 2 && sort_2 == 3){
		ratio = 30 * (Line_Calib_[sort_2] / (Line_Calib_[sort_1] + Line_Calib_[sort_2]));
		return -ratio;
	}
	if(sort_1 == 3 && sort_2 == 2){
		ratio = 30 * (Line_Calib_[sort_1] / (Line_Calib_[sort_2] + Line_Calib_[sort_1]));
		return -ratio;
	}
	//3-4
	if(sort_1 == 3 && sort_2 == 4){
		ratio = 30 * (Line_Calib_[sort_2] / (Line_Calib_[sort_1] + Line_Calib_[sort_2]));
		return -(30+ratio);
	}
	if(sort_1 == 4 && sort_2 == 3){
		ratio = 30 * (Line_Calib_[sort_1] / (Line_Calib_[sort_2] + Line_Calib_[sort_1]));
		return -(30+ratio);
	}

	else return 0;

}

void LineTrace(uint8_t motor_flag)
{
	double deg = degree();
	double rad = deg * (M_PI / 180);
	double Turning_Radius = 35 / tan(rad);

	if(motor_flag == 2){
		Speed_Ref = Speed_Ref - 0.002;
		if(0 >= Speed_Ref) Speed_Ref = 0;
	}
	else{
		Speed_Ref = ((V_MIN - V_MAX)/30) * fabs(deg) + V_MAX;
		if(V_MIN > Speed_Ref) Speed_Ref = V_MIN;
	}

	Speed_input_R = SpeedContorol_R( (Turning_Radius - tread) * (Speed_Ref / Turning_Radius) );
	Speed_input_L = SpeedContorol_L( (Turning_Radius + tread) * (Speed_Ref / Turning_Radius) );

	switch(motor_flag){
	case 0:
		//motor_R(0);
		//motor_L(0);
		break;
	case 1:
		motor_R( Speed_input_R );
		motor_L( Speed_input_L );
		break;
	case 2:
		motor_R( Speed_input_R );
		motor_L( Speed_input_L );
		break;
	}
}

//Motor_R
void motor_R( double duty )
{
	int countorperiod = 0;
	if( duty < 0 ){
		countorperiod = duty * -1;
		__HAL_TIM_SET_COMPARE(&htim1, TIM_CHANNEL_4, countorperiod);
		__HAL_TIM_SET_COMPARE(&htim1, TIM_CHANNEL_1, 0);
	}
	else if( duty >= 0 ){
		countorperiod = duty;
		__HAL_TIM_SET_COMPARE(&htim1, TIM_CHANNEL_4, 0);
		__HAL_TIM_SET_COMPARE(&htim1, TIM_CHANNEL_1, countorperiod);
	}
}

//Motor_L
void motor_L( double duty )
{
	int countorperiod = 0;
	if( duty < 0 ){
		countorperiod = duty * -1;
		__HAL_TIM_SET_COMPARE(&htim1, TIM_CHANNEL_3, countorperiod);
		__HAL_TIM_SET_COMPARE(&htim1, TIM_CHANNEL_2, 0);
	}
	else if( duty >= 0 ){
		countorperiod = duty;
		__HAL_TIM_SET_COMPARE(&htim1, TIM_CHANNEL_3, 0);
		__HAL_TIM_SET_COMPARE(&htim1, TIM_CHANNEL_2, countorperiod);
	}
}

//Motor_Speed_R
double Speed_R()
{
	int Encoder = (TIM2 -> CNT) - 32767;
	TIM2 -> CNT = 32767;
	double speed = (7. * TIRE * M_PI * (double)Encoder) / (40960. * TIM05);
	return speed;
}

//Motor_Speed_L
double Speed_L()
{
	int Encoder = (TIM3 -> CNT) - 32767;
	TIM3 -> CNT = 32767;
	double speed = (7. * TIRE * M_PI * (double)Encoder) / (40960. * TIM05);
	return speed;
}

double SpeedContorol_R(double Speed_Ref)
{
	double PGain = 700.0, duty;
	double delta_speed = Speed_Ref - SR;

	speedR_I_buff += delta_speed * TIM05 * 0.001;
	if(speedR_I_buff >= 1000000) speedR_I_buff = 1000000;
	if(speedR_I_buff <= -1000000) speedR_I_buff = -1000000;

	duty = ( delta_speed * PGain ) /*+ ( speedR_I_buff * IGain )*/;

	return duty;
}

double SpeedContorol_L(double Speed_Ref)
{
	double PGain = 700.0, duty;
	double delta_speed = Speed_Ref - SL;

	speedL_I_buff += delta_speed * TIM05 * 0.001;
	if(speedL_I_buff >= 1000000) speedL_I_buff = 1000000;
	if(speedL_I_buff <= -1000000) speedL_I_buff = -1000000;

	duty = ( delta_speed * PGain ) /*+ ( speedL_I_buff * IGain )*/;

	return duty;
}

//Timer
void HAL_TIM_PeriodElapsedCallback(TIM_HandleTypeDef *htim)
{
   if(htim->Instance == TIM6){
	   adc_getValues();
   }
   if(htim->Instance == TIM7){
	   updateValues();
	   degree();
	   SR = Speed_R();
	   SL = Speed_L();
	   LineTrace(linetrace_flag);
	   if(side_r_flag) side_r_time++;
	   if(side_l_flag) side_l_time++;
   }
}
/* USER CODE END 4 */

void Error_Handler(void)
{
  __disable_irq();
  while (1)
  {
  }
}

/************************ (C) COPYRIGHT STMicroelectronics *****END OF FILE****/
